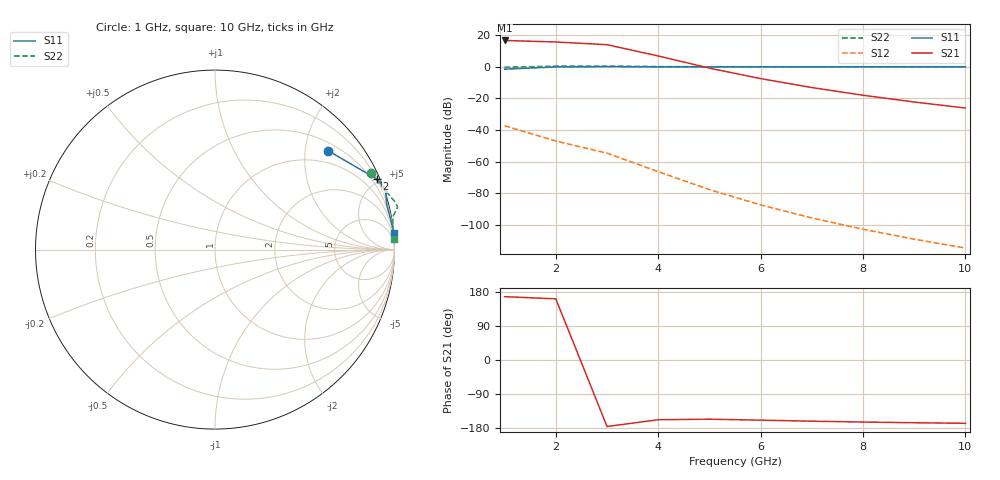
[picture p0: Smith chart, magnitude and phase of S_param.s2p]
! Created Fri Feb 12 17:16:08 2016
# ghz S ma R 50
! 2 Port Network Data from SP1.SP block
! freq  magS11  angS11  magS21  angS21  magS12  angS12  magS22  angS22
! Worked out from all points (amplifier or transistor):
!   10 points, 1 GHz to 10 GHz, reference 50 ohm
!   highest |S21| = 16.6 dB at 1 GHz (marker M1)
!   |S21| within 3 dB of that: start of sweep to 3.045 GHz
!   unconditionally stable (mu >= 1): 7.825 GHz to end of sweep
!   at 2 GHz: K = -0.86, MSG = 31.3 dB, |S12| = -47.0 dB
!   at 6 GHz: K = -0.42, MSG = 39.9 dB, |S12| = -87.3 dB
!   at 10 GHz: K = 6.60, MAG = 33.1 dB, |S12| = -114.6 dB
!   S11 on the Smith chart (normalised r, x): 1 GHz: 0.68, +2.50; 2 GHz: 0.19, +4.81; 10 GHz: 0, +22
1  0.837 41.2  6.759 167.1  0.01361 -132.8  0.9679 26.3
2  0.9848 23.5  6.044 161.4  0.004489 -158.9  1.038 14.8
3  1.009 19.3  4.967 -175.5  0.001854 -146.7  1.045 13.1
4  0.9892 15.0  2.186 -157.6  0.0004831 -135.3  1.009 10.5
5  0.9906 11.5  0.9022 -156.2  0.0001309 -138.0  1.001 7.9
6  0.994 9.2  0.4209 -158.7  4.304e-05 -143.4  0.9995 6.3
7  0.9961 7.7  0.2199 -161.4  1.667e-05 -148.2  0.9995 5.3
8  0.9974 6.6  0.1255 -163.7  7.327e-06 -152.1  0.9996 4.5
9  0.9981 5.8  0.07675 -165.6  3.555e-06 -155.2  0.9997 3.9
10  0.9986 5.2  0.04956 -167.0  1.865e-06 -157.7  0.9998 3.5
